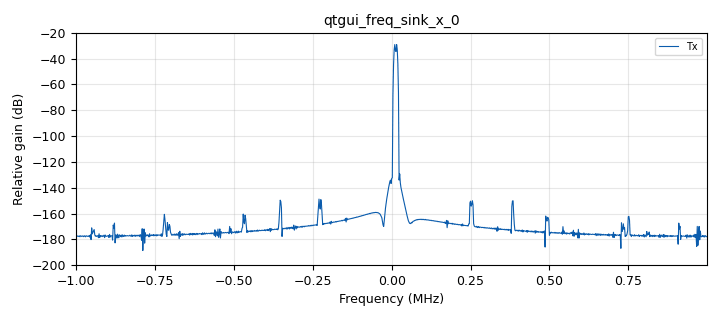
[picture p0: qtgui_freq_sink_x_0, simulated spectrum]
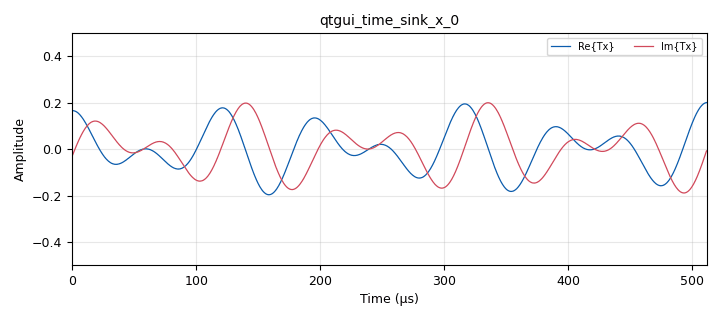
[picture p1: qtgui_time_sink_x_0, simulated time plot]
<?xml version='1.0' encoding='utf-8'?>
<?grc format='1' created='3.7.7'?>
<flow_graph>
<block>
<key>options</key>
<param><key>id</key><value>impulse_receiver</value></param>
<param><key>generate_options</key><value>qt_gui</value></param>
<param><key>category</key><value>Custom</value></param>
</block>
<block>
<key>variable</key>
<param><key>id</key><value>samp_rate</value></param>
<param><key>value</key><value>2e6</value></param>
</block>
<block>
<key>analog_sig_source_x</key>
<param><key>id</key><value>analog_sig_source_x_0</value></param>
<param><key>type</key><value>complex</value></param>
<param><key>samp_rate</key><value>samp_rate</value></param>
<param><key>waveform</key><value>analog.GR_COS_WAVE</value></param>
<param><key>freq</key><value>10e3</value></param>
<param><key>amp</key><value>1</value></param>
<param><key>offset</key><value>0</value></param>
</block>
<block>
<key>blocks_add_xx</key>
<param><key>id</key><value>blocks_add_xx_0</value></param>
<param><key>type</key><value>complex</value></param>
</block>
<block>
<key>blocks_multiply_const_vxx</key>
<param><key>id</key><value>blocks_multiply_const_vxx_0</value></param>
<param><key>type</key><value>complex</value></param>
<param><key>const</key><value>amp</value></param>
</block>
<block>
<key>blocks_multiply_xx</key>
<param><key>id</key><value>blocks_multiply_xx_0</value></param>
<param><key>type</key><value>complex</value></param>
</block>
<block>
<key>uhd_usrp_sink</key>
<param><key>id</key><value>uhd_usrp_sink_0</value></param>
<param><key>type</key><value>fc32</value></param>
<param><key>dev_args</key><value>""</value></param>
<param><key>sync</key><value></value></param>
<param><key>clock_rate</key><value>0.0</value></param>
<param><key>samp_rate</key><value>samp_rate</value></param>
<param><key>center_freq0</key><value>freq*1e6</value></param>
<param><key>gain0</key><value>gain</value></param>
<param><key>ant0</key><value>TX/RX</value></param>
<param><key>len_tag_name</key><value></value></param>
</block>
<block>
<key>variable_qtgui_range</key>
<param><key>id</key><value>gain</value></param>
<param><key>label</key><value>Gain</value></param>
<param><key>value</key><value>10</value></param>
<param><key>start</key><value>0</value></param>
<param><key>stop</key><value>71</value></param>
<param><key>step</key><value>1</value></param>
<param><key>orient</key><value>Qt.Horizontal</value></param>
<param><key>gui_hint</key><value>0,0,1,1</value></param>
</block>
<block>
<key>variable_qtgui_range</key>
<param><key>id</key><value>amp</value></param>
<param><key>label</key><value>Amplitude</value></param>
<param><key>value</key><value>0.1</value></param>
<param><key>start</key><value>0</value></param>
<param><key>stop</key><value>1</value></param>
<param><key>step</key><value>0.01</value></param>
<param><key>orient</key><value>Qt.Horizontal</value></param>
<param><key>gui_hint</key><value>1,0,1,1</value></param>
</block>
<block>
<key>variable_qtgui_range</key>
<param><key>id</key><value>amp1</value></param>
<param><key>label</key><value>Sig 2 amp</value></param>
<param><key>value</key><value>1</value></param>
<param><key>start</key><value>0</value></param>
<param><key>stop</key><value>1</value></param>
<param><key>step</key><value>0.01</value></param>
<param><key>orient</key><value>Qt.Horizontal</value></param>
<param><key>gui_hint</key><value>1,1,1,1</value></param>
</block>
<block>
<key>analog_sig_source_x</key>
<param><key>id</key><value>analog_sig_source_x_1</value></param>
<param><key>type</key><value>complex</value></param>
<param><key>samp_rate</key><value>samp_rate</value></param>
<param><key>waveform</key><value>analog.GR_COS_WAVE</value></param>
<param><key>freq</key><value>f1</value></param>
<param><key>amp</key><value>amp1</value></param>
<param><key>offset</key><value>0</value></param>
</block>
<block>
<key>variable_qtgui_range</key>
<param><key>id</key><value>f1</value></param>
<param><key>label</key><value>Sig 2 freq</value></param>
<param><key>value</key><value>5500</value></param>
<param><key>start</key><value>0</value></param>
<param><key>stop</key><value>400e3</value></param>
<param><key>step</key><value>100</value></param>
<param><key>orient</key><value>Qt.Horizontal</value></param>
<param><key>gui_hint</key><value>2,0,1,2</value></param>
</block>
<block>
<key>qtgui_freq_sink_x</key>
<param><key>id</key><value>qtgui_freq_sink_x_0</value></param>
<param><key>type</key><value>complex</value></param>
<param><key>fftsize</key><value>1024</value></param>
<param><key>wintype</key><value>firdes.WIN_BLACKMAN_hARRIS</value></param>
<param><key>fc</key><value>0</value></param>
<param><key>bw</key><value>samp_rate</value></param>
<param><key>ymin</key><value>-200</value></param>
<param><key>ymax</key><value>-20</value></param>
<param><key>update_time</key><value>0.01</value></param>
<param><key>gui_hint</key><value>3,1,1,1</value></param>
<param><key>showports</key><value>True</value></param>
<param><key>label1</key><value>Tx</value></param>
</block>
<block>
<key>qtgui_time_sink_x</key>
<param><key>id</key><value>qtgui_time_sink_x_0</value></param>
<param><key>type</key><value>complex</value></param>
<param><key>size</key><value>1024</value></param>
<param><key>srate</key><value>samp_rate</value></param>
<param><key>ymin</key><value>-0.5</value></param>
<param><key>ymax</key><value>0.5</value></param>
<param><key>update_time</key><value>0.01</value></param>
<param><key>gui_hint</key><value>3,0,1,1</value></param>
<param><key>tr_delay</key><value>0.0</value></param>
<param><key>label1</key><value>Re{Tx}</value></param>
<param><key>color1</key><value>"blue"</value></param>
<param><key>label2</key><value>Im{Tx}</value></param>
<param><key>color2</key><value>"red"</value></param>
</block>
<block>
<key>variable_qtgui_range</key>
<param><key>id</key><value>freq</value></param>
<param><key>label</key><value>Frequency (MHz)</value></param>
<param><key>value</key><value>428</value></param>
<param><key>start</key><value>400</value></param>
<param><key>stop</key><value>500</value></param>
<param><key>step</key><value>0.5</value></param>
<param><key>orient</key><value>Qt.Horizontal</value></param>
<param><key>gui_hint</key><value>0,1,1,1</value></param>
</block>
<connection><source_block_id>analog_sig_source_x_1</source_block_id><sink_block_id>blocks_multiply_xx_0</sink_block_id><source_key>0</source_key><sink_key>1</sink_key></connection>
<connection><source_block_id>analog_sig_source_x_0</source_block_id><sink_block_id>blocks_add_xx_0</sink_block_id><source_key>0</source_key><sink_key>0</sink_key></connection>
<connection><source_block_id>blocks_multiply_xx_0</source_block_id><sink_block_id>blocks_add_xx_0</sink_block_id><source_key>0</source_key><sink_key>1</sink_key></connection>
<connection><source_block_id>blocks_add_xx_0</source_block_id><sink_block_id>blocks_multiply_const_vxx_0</sink_block_id><source_key>0</source_key><sink_key>0</sink_key></connection>
<connection><source_block_id>blocks_multiply_const_vxx_0</source_block_id><sink_block_id>uhd_usrp_sink_0</sink_block_id><source_key>0</source_key><sink_key>0</sink_key></connection>
<connection><source_block_id>blocks_multiply_const_vxx_0</source_block_id><sink_block_id>qtgui_time_sink_x_0</sink_block_id><source_key>0</source_key><sink_key>0</sink_key></connection>
<connection><source_block_id>blocks_multiply_const_vxx_0</source_block_id><sink_block_id>qtgui_freq_sink_x_0</sink_block_id><source_key>0</source_key><sink_key>0</sink_key></connection>
<connection><source_block_id>analog_sig_source_x_0</source_block_id><sink_block_id>blocks_multiply_xx_0</sink_block_id><source_key>0</source_key><sink_key>0</sink_key></connection>
</flow_graph>
